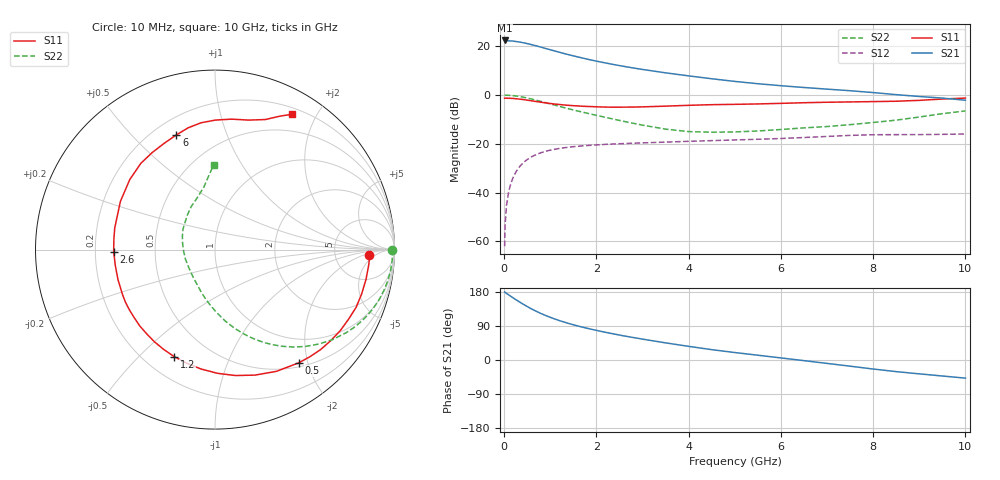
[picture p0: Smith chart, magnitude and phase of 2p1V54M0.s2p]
! (c) 2009  Infineon Technologies AG, Munich
! Infineon Technologies  Discrete & RF Semiconductors
! BFP420
! VCE =  1.5 V,  IC =  4.0 mA
! Common Emitter S-Parameters:  Nov 2009
# GHz  S  MA  R  50
!  f  S11  S21  S12  S22
! GHz  MAG  ANG  MAG  ANG  MAG  ANG  MAG  ANG
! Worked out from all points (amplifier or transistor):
!   46 points, 10 MHz to 10 GHz, reference 50 ohm
!   highest |S21| = 22.4 dB at 10 MHz (marker M1)
!   |S21| within 3 dB of that: start of sweep to 846.2 MHz
!   unconditionally stable (mu >= 1): 3.217 GHz to end of sweep
!   at 300 MHz: K = 0.08, MSG = 26.0 dB, |S12| = -30.3 dB
!   at 1.7 GHz: K = 0.53, MSG = 18.0 dB, |S12| = -20.8 dB
!   at 10 GHz: K = 1.14, MAG = 4.7 dB, |S12| = -16.0 dB
!   lowest NFmin = 0.61 dB at 900 MHz
!   S11 on the Smith chart (normalised r, x): 10 MHz: 13, -3; 500 MHz: 0.56, -1.85; 1.2 GHz: 0.32, -0.64; 2.6 GHz: 0.28, -0.01; 6 GHz: 0.29, +0.68; 10 GHz: 0.28, +1.68
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0.01  0.8602 -2.0  13.11 179.4  0.0008 120.6  0.9868 0.0
0.02  0.8616 -2.2  12.81 178.6  0.0021 87.4  0.9895 -1.3
0.05  0.8611 -5.5  12.86 175.8  0.0054 85.5  0.9888 -3.4
0.15  0.8537 -16.7  12.81 167.6  0.0159 81.1  0.978 -10.3
0.25  0.8391 -27.6  12.48 159.5  0.026 75.3  0.9562 -16.9
0.35  0.8203 -38.3  12.1 151.9  0.0354 69.7  0.9249 -23.3
0.5  0.7847 -53.5  11.31 141.1  0.0477 62.1  0.8664 -32.2
0.6  0.7598 -63.2  10.73 134.4  0.0546 57.3  0.8238 -37.6
0.8  0.7108 -80.8  9.542 122.6  0.0658 49.4  0.737 -47.1
1  0.6697 -96.7  8.457 112.6  0.0742 43.1  0.6559 -55.2
1.2  0.6383 -110.8  7.503 103.9  0.0805 37.9  0.5842 -62.3
1.4  0.6144 -123.4  6.692 96.4  0.0852 33.7  0.5223 -68.5
1.7  0.5885 -139.9  5.717 86.6  0.0908 28.8  0.4453 -76.7
2.2  0.5658 -162.8  4.53 73.0  0.0974 22.6  0.3481 -88.9
2.6  0.5647 -178.9  3.855 63.5  0.1013 18.8  0.2878 -99.1
3.5  0.5915 153.0  2.846 45.2  0.1084 12.7  0.2 -126.2
4.5  0.6337 130.7  2.152 27.3  0.1163 7.2  0.1729 -162.2
5.5  0.656 115.7  1.704 12.6  0.1239 2.8  0.1833 169.8
6  0.6745 108.6  1.551 5.5  0.1285 0.8  0.1965 157.7
7  0.7108 96.3  1.319 -9.0  0.1416 -4.5  0.2259 137.5
8.5  0.7456 75.4  1.018 -30.7  0.1542 -17.1  0.3057 108.8
10  0.8658 60.5  0.782 -47.8  0.1589 -25.1  0.4721 90.9
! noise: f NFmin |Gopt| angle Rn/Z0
0.9  0.61  0.27  32  0.16
1.8  1.03  0.14  83  0.13
2.4  1.11  0.17  110  0.14
3  1.23  0.2  153  0.11
4  1.42  0.31  -151  0.11
5  1.77  0.38  -123  0.23
6  2.35  0.47  -104  0.33
